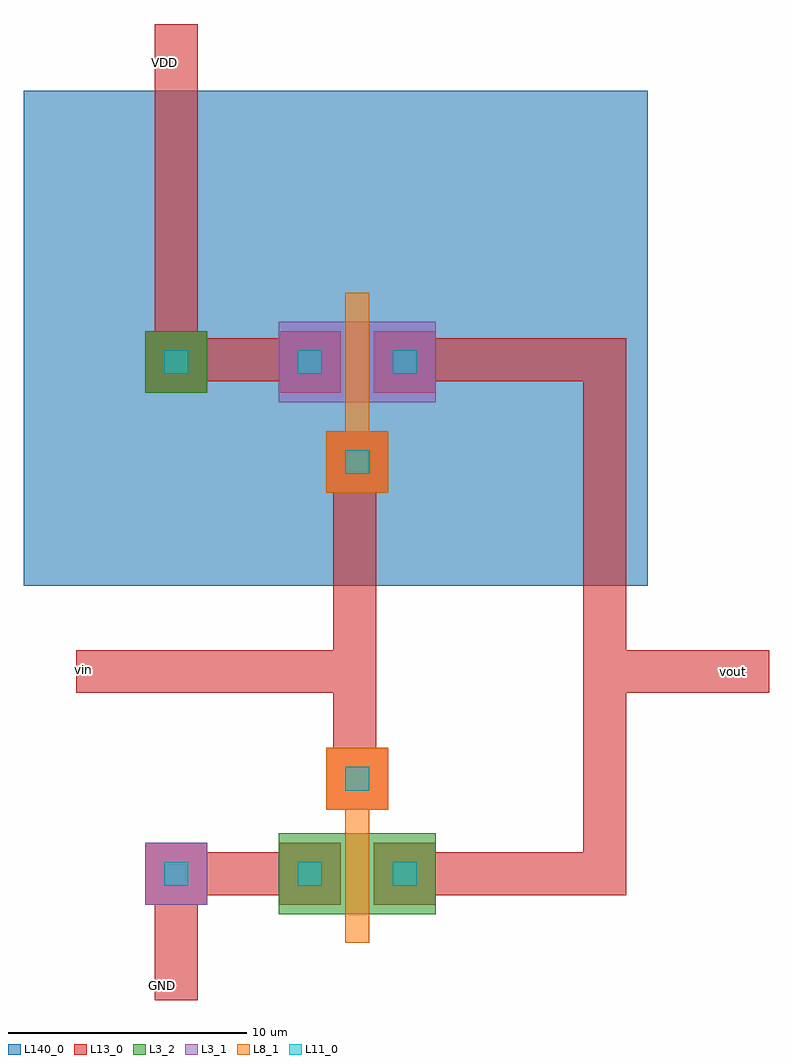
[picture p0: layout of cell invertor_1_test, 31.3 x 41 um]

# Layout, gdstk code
import gdstk
lib = gdstk.Library(unit=1e-6, precision=1e-07)
def R(c, l, rs):  # rectangles x0, y0, x1, y1
    for r in rs: c.add(gdstk.rectangle(r[:2], r[2:], *l))
L3_1 = (3, 1)
L3_2 = (3, 2)
L8_1 = (8, 1)
L11_0 = (11, 0)
L13_0 = (13, 0)
L140_0 = (140, 0)

fet_n = lib.new_cell('fet_n')
R(fet_n, L3_2, [(-3.3,-1.7,3.3,1.7)])
R(fet_n, L11_0, [(-2.5,-0.5,-1.5,0.5), (1.5,-0.5,2.5,0.5)])
R(fet_n, L13_0, [(-3.3,-1.3,-0.7,1.3), (0.7,-1.3,3.3,1.3)])
fet_n.add(gdstk.FlexPath([(0,-2.9),(0,2.9)], 1, ends="flush", simple_path=True, layer=8, datatype=1))  # L8_1

cont_g = lib.new_cell('cont_g')
R(cont_g, L8_1, [(-1.3,-1.3,1.3,1.3)])
R(cont_g, L11_0, [(-0.5,-0.5,0.5,0.5)])
R(cont_g, L13_0, [(-1.3,-1.3,1.3,1.3)])

cont_p = lib.new_cell('cont_p')
R(cont_p, L3_1, [(-1.3,-1.3,1.3,1.3)])
R(cont_p, L11_0, [(-0.5,-0.5,0.5,0.5)])
R(cont_p, L13_0, [(-1.3,-1.3,1.3,1.3)])

fet_p = lib.new_cell('fet_p')
R(fet_p, L3_1, [(-3.3,-1.7,3.3,1.7)])
R(fet_p, L11_0, [(-2.5,-0.5,-1.5,0.5), (1.5,-0.5,2.5,0.5)])
R(fet_p, L13_0, [(-3.3,-1.3,-0.7,1.3), (0.7,-1.3,3.3,1.3)])
fet_p.add(gdstk.FlexPath([(0,-2.9),(0,2.9)], 1, ends="flush", simple_path=True, layer=8, datatype=1))  # L8_1

cont_n = lib.new_cell('cont_n')
R(cont_n, L3_2, [(-1.3,-1.3,1.3,1.3)])
R(cont_n, L11_0, [(-0.5,-0.5,0.5,0.5)])
R(cont_n, L13_0, [(-1.3,-1.3,1.3,1.3)])

invertor_1_test = lib.new_cell('invertor_1_test')
R(invertor_1_test, L140_0, [(-15.7,11.1,10.5,31.9)])
invertor_1_test.add(gdstk.FlexPath([(-0.3,20.6),(8.7,20.6),(8.7,-1),(-0.6,-1)], 1.8, ends="flush", simple_path=True, layer=13, datatype=0))  # L13_0
invertor_1_test.add(gdstk.FlexPath([(8.1,7.5),(15.6,7.5)], 1.8, ends="flush", simple_path=True, layer=13, datatype=0))  # L13_0
invertor_1_test.add(gdstk.FlexPath([(-1.8,15.6),(-1.8,2.3)], 1.8, ends="flush", simple_path=True, layer=13, datatype=0))  # L13_0
invertor_1_test.add(gdstk.FlexPath([(-1.8,7.5),(-13.5,7.5)], 1.8, ends="flush", simple_path=True, layer=13, datatype=0))  # L13_0
invertor_1_test.add(gdstk.FlexPath([(-2.9,-1),(-9.3,-1),(-9.3,-6.3)], 1.8, ends="flush", simple_path=True, layer=13, datatype=0))  # L13_0
invertor_1_test.add(gdstk.FlexPath([(-2.9,20.6),(-9.3,20.6),(-9.3,34.7)], 1.8, ends="flush", simple_path=True, layer=13, datatype=0))  # L13_0
invertor_1_test.add(gdstk.Reference(fet_n, (-1.7,-1)))
invertor_1_test.add(gdstk.Reference(cont_g, (-1.7,3)))
invertor_1_test.add(gdstk.Reference(cont_p, (-9.3,-1)))
invertor_1_test.add(gdstk.Reference(fet_p, (-1.7,20.5)))
invertor_1_test.add(gdstk.Reference(cont_g, (-1.7,16.3)))
invertor_1_test.add(gdstk.Reference(cont_n, (-9.3,20.5)))
invertor_1_test.add(gdstk.Label('VDD', (-9.8,33.1), layer=48, texttype=0))
invertor_1_test.add(gdstk.Label('vin', (-13.2,7.6), layer=48, texttype=0))
invertor_1_test.add(gdstk.Label('vout', (14.1,7.5), layer=48, texttype=0))
invertor_1_test.add(gdstk.Label('GND', (-9.9,-5.7), layer=48, texttype=0))

lib.write_gds('invertor_1_test.gds')
